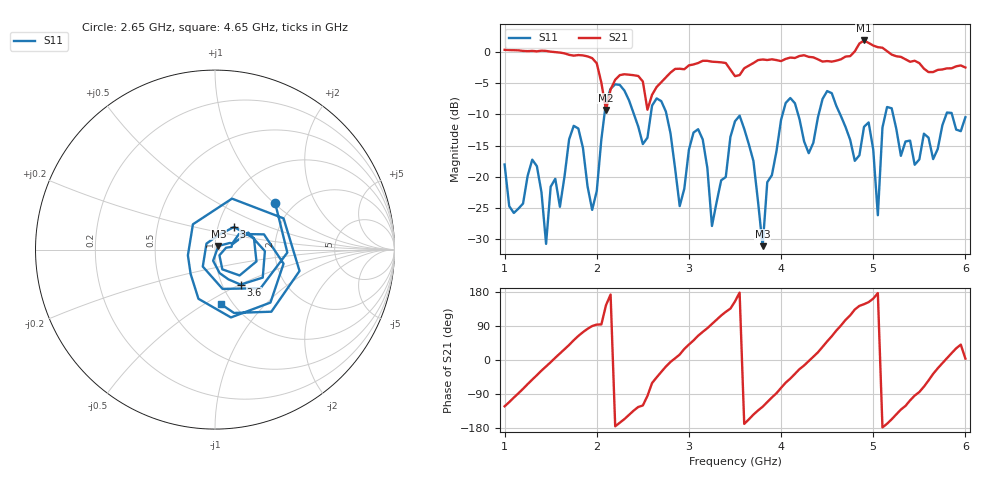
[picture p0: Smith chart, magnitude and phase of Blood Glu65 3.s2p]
! NanoVNA-App
! Date: 2024-03-20 21:24:34
! Start: 1GHz Stop: 6GHz Points: 101
! S-Parameter data: F S11 S21 S12 S22
# Hz S RI R 50
!	Frequency	S11_Real	S11_Imag	S21_Real	S21_Imag	S12_Real	S12_Imag	S22_Real	S22_Imag
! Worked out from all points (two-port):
!   101 points, 1 GHz to 6 GHz, reference 50 ohm
!   highest |S21| = 1.84 dB at 4.9 GHz (marker M1); lowest = -9.3 dB at 2.1 GHz (marker M2)
!   |S21| within 3 dB of the highest: start of sweep to 1.96 GHz; 4.652 GHz to 5.347 GHz (695.3 MHz wide, 13.9 % of centre)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
!   lowest |S11| = -31.1 dB at 3.8 GHz (marker M3), VSWR 1.06, Z = 51.9 + j2.13 ohm
!   |S11| at or under -10 dB: start of sweep to 2.084 GHz; 2.756 GHz to 4.016 GHz (1.26 GHz wide, 37.2 % of centre); 5.215 GHz to 5.793 GHz (578.3 MHz wide, 10.5 % of centre)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
!   S12 and S22 are empty: the file has one direction only
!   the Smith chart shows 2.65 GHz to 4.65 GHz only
!   S11 on the Smith chart (normalised r, x): 2.65 GHz: 1.61, +1.02; 3 GHz: 1.19, +0.31; 3.6 GHz: 1.22, -0.50; 4.65 GHz: 0.88, -0.59
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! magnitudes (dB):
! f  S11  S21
! 1 GHz  -18.0  0.3
! 1.35 GHz  -18.3  0.1
! 1.45 GHz  -30.8  0.2
! 1.85 GHz  -15.4  -0.6
! 1.95 GHz  -25.3  -1.0
! 2.1 GHz  -8.1  -9.3
! 2.65 GHz  -7.5  -5.6
! 2.7 GHz  -7.9  -4.9
! 2.9 GHz  -24.7  -2.7
! 3 GHz  -15.7  -2.2
! 3.15 GHz  -14.0  -1.4
! 3.25 GHz  -27.9  -1.6
! 3.5 GHz  -11.1  -3.9
! 3.6 GHz  -12.3  -2.6
! 3.8 GHz  -31.1  -1.2
! 4.05 GHz  -8.2  -1.1
! 4.35 GHz  -14.6  -0.9
! 4.65 GHz  -10.3  -1.2
! 4.9 GHz  -12.0  1.8
! 5.05 GHz  -26.2  0.8
! 5.2 GHz  -9.0  -0.4
! 6 GHz  -10.5  -2.5
